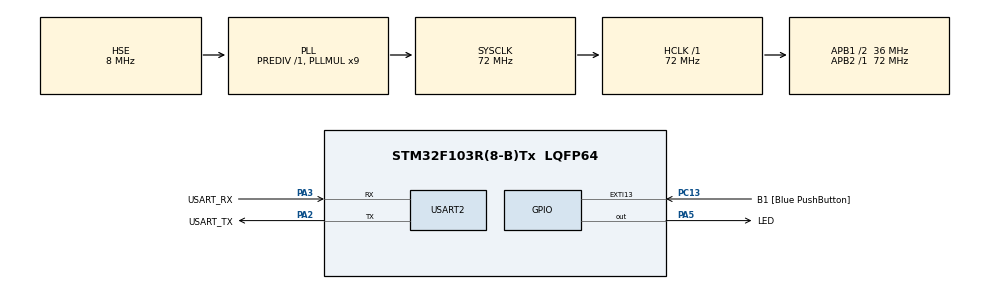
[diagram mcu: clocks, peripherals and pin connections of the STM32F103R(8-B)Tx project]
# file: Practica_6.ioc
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Mcu.Family=STM32F1
Mcu.Name=STM32F103R(8-B)Tx
Mcu.Package=LQFP64
NVIC.EXTI15_10_IRQn=true\:0\:0\:false\:false\:true\:true\:true\:true
NVIC.PriorityGroup=NVIC_PRIORITYGROUP_4
NVIC.TIM2_IRQn=true\:0\:0\:false\:false\:true\:true\:true\:true
PA13.GPIO_Label=TMS
PA13.Mode=Serial_Wire
PA13.Signal=SYS_JTMS-SWDIO
PA14.GPIO_Label=TCK
PA14.Mode=Serial_Wire
PA14.Signal=SYS_JTCK-SWCLK
PA2.GPIO_Label=USART_TX
PA2.GPIO_Mode=GPIO_MODE_AF_PP
PA2.GPIO_PuPd=GPIO_NOPULL
PA2.GPIO_Speed=GPIO_SPEED_FREQ_LOW
PA2.Mode=Asynchronous
PA2.Signal=USART2_TX
PA3.GPIO_Label=USART_RX
PA3.GPIO_Mode=GPIO_MODE_AF_PP
PA3.GPIO_PuPd=GPIO_NOPULL
PA3.GPIO_Speed=GPIO_SPEED_FREQ_LOW
PA3.Mode=Asynchronous
PA3.Signal=USART2_RX
PA5.GPIO_Label=LED
PA5.Signal=GPIO_Output
PB3.GPIO_Label=SWO
PB3.Signal=SYS_JTDO-TRACESWO
PC13-TAMPER-RTC.GPIO_Label=B1 [Blue PushButton]
PC13-TAMPER-RTC.GPIO_PuPd=GPIO_NOPULL
PC13-TAMPER-RTC.Signal=GPXTI13
PC14-OSC32_IN.Mode=LSE-External-Oscillator
PC14-OSC32_IN.Signal=RCC_OSC32_IN
PC15-OSC32_OUT.Mode=LSE-External-Oscillator
PC15-OSC32_OUT.Signal=RCC_OSC32_OUT
PD0-OSC_IN.Mode=HSE-External-Clock-Source
PD0-OSC_IN.Signal=RCC_OSC_IN
PD1-OSC_OUT.Mode=HSE-External-Clock-Source
PD1-OSC_OUT.Signal=RCC_OSC_OUT
ProjectManager.HeapSize=0x200
ProjectManager.StackSize=0x400
ProjectManager.TargetToolchain=CMake
RCC.AHBFreq_Value=72000000
RCC.APB1CLKDivider=RCC_HCLK_DIV2
RCC.APB1Freq_Value=36000000
RCC.APB1TimFreq_Value=72000000
RCC.APB2Freq_Value=72000000
RCC.APB2TimFreq_Value=72000000
RCC.HCLKFreq_Value=72000000
RCC.PLLMUL=RCC_PLL_MUL9
RCC.PLLSourceVirtual=RCC_PLLSOURCE_HSE
RCC.RTCClockSelection=RCC_RTCCLKSOURCE_LSE
RCC.SYSCLKFreq_VALUE=72000000
RCC.SYSCLKSource=RCC_SYSCLKSOURCE_PLLCLK
RCC.USBFreq_Value=72000000
TIM2.Period=4999
TIM2.Prescaler=7199
USART2.VirtualMode=VM_ASYNC
VP_TIM2_VS_ClockSourceINT.Mode=Internal
board=NUCLEO-F103RB

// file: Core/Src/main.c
/* USER CODE BEGIN Header */
/**
  ******************************************************************************
  * @file           : main.c
  * @brief          : Main program body
  ******************************************************************************
  * @attention
  *
  * Copyright (c) 2026 STMicroelectronics.
  * All rights reserved.
  *
  * This software is licensed under terms that can be found in the LICENSE file
  * in the root directory of this software component.
  * If no LICENSE file comes with this software, it is provided AS-IS.
  *
  ******************************************************************************
  */
/* USER CODE END Header */
#include "main.h"

/* USER CODE BEGIN Includes */
#include "Timer.h"
#include "UART.h"
#include "LED.h"

/* USER CODE END Includes */

/* USER CODE BEGIN PV */
typedef enum {
    MODO_ENCENDIDO = 0,
    MODO_APAGADO,
    MODO_PARPADEO_500MS,
    MODO_PARPADEO_200MS,
    MODO_PARPADEO_100MS
} SystemMode_t;

static SystemMode_t modo_actual = MODO_ENCENDIDO;
static uint32_t tiempo_ultimo_cambio = 0;
/* USER CODE END PV */

void SystemClock_Config(void);
/* USER CODE BEGIN PFP */
static void AplicarModo(SystemMode_t modo);
static void EnviarEstado(void);

/* USER CODE END PFP */

int main(void)
{

  /* MCU Configuration--------------------------------------------------------*/

  /* Reset of all peripherals, Initializes the Flash interface and the Systick. */
  HAL_Init();

  /* Configure the system clock */
  SystemClock_Config();

  /* Initialize all configured peripherals */
  MX_GPIO_Init();
  MX_TIM2_Init();
  MX_USART2_UART_Init();
  /* USER CODE BEGIN 2 */
  LED_Init();
  Timer_Init();
  UART_Init();

  AplicarModo(modo_actual);
  EnviarEstado();
  tiempo_ultimo_cambio = HAL_GetTick();
  /* USER CODE END 2 */

  /* Infinite loop */
  /* USER CODE BEGIN WHILE */
  while (1)
  {
    if ((modo_actual >= MODO_PARPADEO_500MS) && Timer_HasElapsed())
    {
        LED_Toggle();
        EnviarEstado();
    }

    if ((HAL_GetTick() - tiempo_ultimo_cambio) >= 5000U)
    {
        tiempo_ultimo_cambio = HAL_GetTick();

        switch (modo_actual)
        {
            case MODO_ENCENDIDO:
                modo_actual = MODO_APAGADO;
                break;
            case MODO_APAGADO:
                modo_actual = MODO_PARPADEO_500MS;
                break;
            case MODO_PARPADEO_500MS:
                modo_actual = MODO_PARPADEO_200MS;
                break;
            case MODO_PARPADEO_200MS:
                modo_actual = MODO_PARPADEO_100MS;
                break;
            case MODO_PARPADEO_100MS:
            default:
                modo_actual = MODO_ENCENDIDO;
                break;
        }
        AplicarModo(modo_actual);
        EnviarEstado();
    }
    /* USER CODE END WHILE */

  }
}

void SystemClock_Config(void)
{
  RCC_OscInitTypeDef RCC_OscInitStruct = {0};
  RCC_ClkInitTypeDef RCC_ClkInitStruct = {0};

  /** Initializes the RCC Oscillators according to the specified parameters
  * in the RCC_OscInitTypeDef structure.
  */
  RCC_OscInitStruct.OscillatorType = RCC_OSCILLATORTYPE_HSE;
  RCC_OscInitStruct.HSEState = RCC_HSE_BYPASS;
  RCC_OscInitStruct.HSEPredivValue = RCC_HSE_PREDIV_DIV1;
  RCC_OscInitStruct.HSIState = RCC_HSI_ON;
  RCC_OscInitStruct.PLL.PLLState = RCC_PLL_ON;
  RCC_OscInitStruct.PLL.PLLSource = RCC_PLLSOURCE_HSE;
  RCC_OscInitStruct.PLL.PLLMUL = RCC_PLL_MUL9;
  if (HAL_RCC_OscConfig(&RCC_OscInitStruct) != HAL_OK)
  {
    Error_Handler();
  }

  /** Initializes the CPU, AHB and APB buses clocks
  */
  RCC_ClkInitStruct.ClockType = RCC_CLOCKTYPE_HCLK|RCC_CLOCKTYPE_SYSCLK
                              |RCC_CLOCKTYPE_PCLK1|RCC_CLOCKTYPE_PCLK2;
  RCC_ClkInitStruct.SYSCLKSource = RCC_SYSCLKSOURCE_PLLCLK;
  RCC_ClkInitStruct.AHBCLKDivider = RCC_SYSCLK_DIV1;
  RCC_ClkInitStruct.APB1CLKDivider = RCC_HCLK_DIV2;
  RCC_ClkInitStruct.APB2CLKDivider = RCC_HCLK_DIV1;

  if (HAL_RCC_ClockConfig(&RCC_ClkInitStruct, FLASH_LATENCY_2) != HAL_OK)
  {
    Error_Handler();
  }
}

/* USER CODE BEGIN 4 */
static void AplicarModo(SystemMode_t modo)
{
    switch (modo)
    {
        case MODO_ENCENDIDO:
            LED_On();
            break;
        case MODO_APAGADO:
            LED_Off();
            break;
        case MODO_PARPADEO_500MS:
            LED_Off();
            Timer_SetPeriod(500);
            break;
        case MODO_PARPADEO_200MS:
            LED_Off();
            Timer_SetPeriod(200);
            break;
        case MODO_PARPADEO_100MS:
            LED_Off();
            Timer_SetPeriod(100);
            break;
        default:
            LED_Off();
            break;
    }
}

static void EnviarEstado(void)
{
    switch (modo_actual)
    {
        case MODO_ENCENDIDO:
            UART_SendString("Estado: LED ENCENDIDO\r\n");
            break;
        case MODO_APAGADO:
            UART_SendString("Estado: LED APAGADO\r\n");
            break;
        case MODO_PARPADEO_500MS:
            UART_SendString("Estado: LED PARPADEANDO, periodo 500 ms\r\n");
            break;
        case MODO_PARPADEO_200MS:
            UART_SendString("Estado: LED PARPADEANDO, periodo 200 ms\r\n");
            break;
        case MODO_PARPADEO_100MS:
            UART_SendString("Estado: LED PARPADEANDO, periodo 100 ms\r\n");
            break;
        default:
            UART_SendString("Estado: modo desconocido\r\n");
            break;
    }
}

/* USER CODE END 4 */

void Error_Handler(void)
{
  __disable_irq();
  while (1)
  {
  }
}
